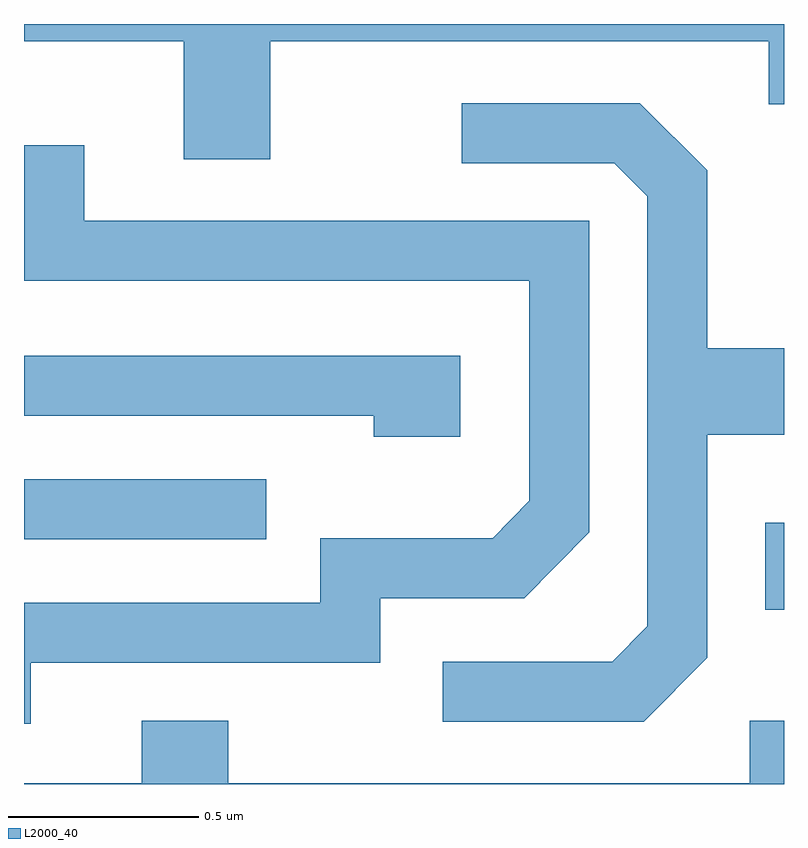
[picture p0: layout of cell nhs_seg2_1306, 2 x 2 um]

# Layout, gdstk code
import gdstk
lib = gdstk.Library(unit=1e-6, precision=1e-09)
def R(c, l, rs):  # rectangles x0, y0, x1, y1
    for r in rs: c.add(gdstk.rectangle(r[:2], r[2:], *l))
def P(c, l, *ps):  # polygons
    for p in ps: c.add(gdstk.Polygon(p, *l))
L2000_40 = (2000, 40)

nhs_seg2_1306 = lib.new_cell('nhs_seg2_1306')
R(nhs_seg2_1306, L2000_40, [(196.561,1051.261,196.611,1051.489), (194.611,1051.446,195.248,1051.604)])
P(nhs_seg2_1306, L2000_40, [(195.259,1052.756),(196.571,1052.756),(196.571,1052.591),(196.611,1052.591),(196.611,1052.802),(194.611,1052.802),(194.611,1052.756),(195.031,1052.756),(195.031,1052.446),(195.259,1052.446)],
  [(196.409,1051.134),(196.409,1051.721),(196.611,1051.721),(196.611,1051.949),(196.409,1051.949),(196.409,1052.417),(196.232,1052.594),(195.763,1052.594),(195.763,1052.436),(196.164,1052.436),(196.251,1052.349),(196.251,1051.217),(196.159,1051.124),(195.713,1051.124),(195.713,1050.966),(196.242,1050.966)],
  [(194.629,1051.121),(195.549,1051.121),(195.549,1051.291),(195.927,1051.291),(196.099,1051.464),(196.099,1052.284),(194.769,1052.284),(194.769,1052.483),(194.611,1052.483),(194.611,1052.126),(195.941,1052.126),(195.941,1051.547),(195.844,1051.449),(195.391,1051.449),(195.391,1051.279),(194.611,1051.279),(194.611,1050.961),(194.629,1050.961)],
  [(195.759,1051.929),(194.611,1051.929),(194.611,1051.771),(195.531,1051.771),(195.531,1051.716),(195.759,1051.716)],
  [(196.611,1050.969),(196.521,1050.969),(196.521,1050.804),(195.149,1050.804),(195.149,1050.969),(194.921,1050.969),(194.921,1050.804),(194.611,1050.804),(194.611,1050.802),(196.611,1050.802)])

lib.write_gds('nhs_seg2_1306.gds')
